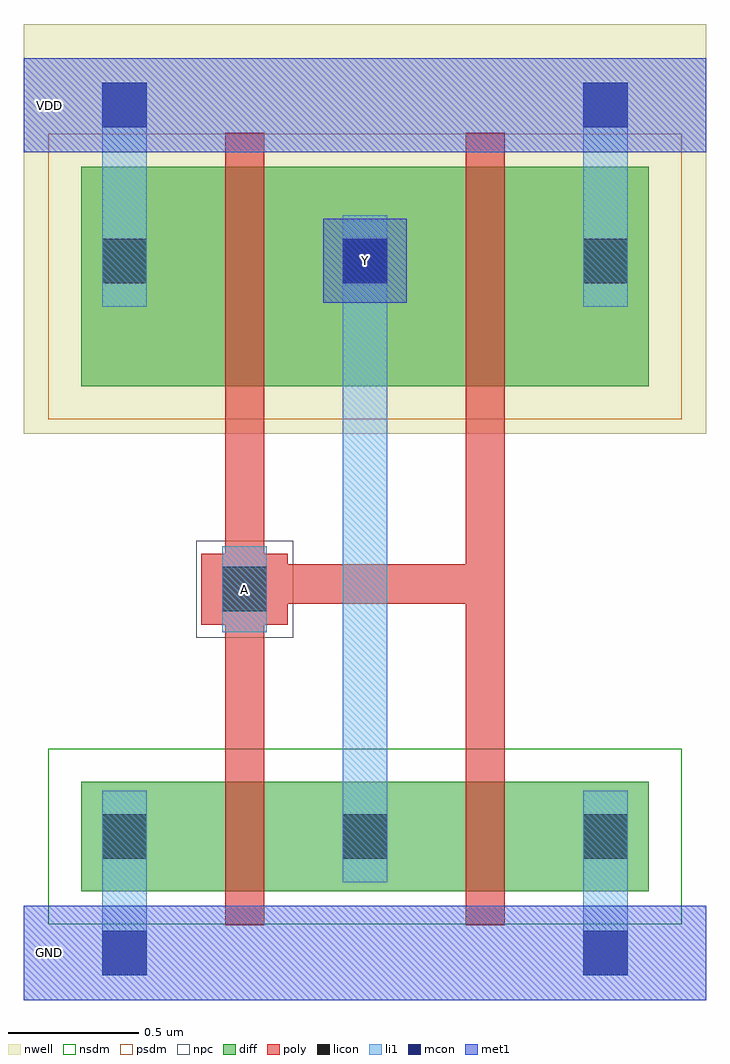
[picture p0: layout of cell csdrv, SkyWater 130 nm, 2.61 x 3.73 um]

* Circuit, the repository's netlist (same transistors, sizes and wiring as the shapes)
* NGSPICE file created from csdrv.ext - technology: sky130A

.subckt csdrv A Y VDD GND
X0 GND A Y VSUBS sky130_fd_pr__nfet_01v8 ad=0.231 pd=1.94 as=0.1617 ps=1.19 w=0.42 l=0.15
X1 Y A GND VSUBS sky130_fd_pr__nfet_01v8 ad=0.1617 pd=1.19 as=0.231 ps=1.94 w=0.42 l=0.15
X2 VDD A Y w_0_397# sky130_fd_pr__pfet_01v8 ad=0.462 pd=2.78 as=0.3234 ps=1.61 w=0.84 l=0.15
X3 Y A VDD w_0_397# sky130_fd_pr__pfet_01v8 ad=0.3234 pd=1.61 as=0.462 ps=2.78 w=0.84 l=0.15
.ends

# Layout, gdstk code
import gdstk
lib = gdstk.Library(unit=1e-6, precision=1e-09)
def R(c, l, rs):  # rectangles x0, y0, x1, y1
    for r in rs: c.add(gdstk.rectangle(r[:2], r[2:], *l))
def A(c, l, x, y, w, h, nx, ny, dx, dy):  # array of equal rectangles
    R(c, l, [(x+i*dx, y+j*dy, x+i*dx+w, y+j*dy+h) for i in range(nx) for j in range(ny)])
nwell = (64, 20)
diff = (65, 20)
poly = (66, 20)
licon = (66, 44)
li1 = (67, 20)
mcon = (67, 44)
met1 = (68, 20)
nsdm = (93, 44)
psdm = (94, 20)
npc = (95, 20)

csdrv = lib.new_cell('csdrv')
R(csdrv, nwell, [(0,1.985,2.61,3.55)])
R(csdrv, diff, [(0.22,0.235,2.39,0.655), (0.22,2.165,2.39,3.005)])
R(csdrv, poly, [(0.77,0.105,0.92,1.255), (1.69,0.105,1.84,1.335), (0.68,1.255,1.01,1.335), (0.68,1.335,1.84,1.485), (0.68,1.485,1.01,1.525), (1.69,1.485,1.84,3.135), (0.77,1.525,0.92,3.135)])
A(csdrv, licon, 0.3, 0.36, 0.17, 0.17, 3, 2, 0.92, 2.2)
R(csdrv, licon, [(0.76,1.305,0.93,1.475)])
R(csdrv, li1, [(0.3,-0.085,0.47,0.62), (2.14,-0.085,2.31,0.62), (1.22,0.27,1.39,2.82), (0.76,1.225,0.93,1.555), (0.3,2.47,0.47,3.325), (2.14,2.47,2.31,3.325)])
R(csdrv, mcon, [(0.3,-0.085,0.47,0.085), (2.14,-0.085,2.31,0.085), (1.22,2.56,1.39,2.73), (0.3,3.155,0.47,3.325), (2.14,3.155,2.31,3.325)])
R(csdrv, met1, [(0,-0.18,2.61,0.18), (1.145,2.485,1.465,2.805), (0,3.06,2.61,3.42)])
R(csdrv, nsdm, [(0.095,0.11,2.515,0.78)])
R(csdrv, psdm, [(0.095,2.04,2.515,3.13)])
R(csdrv, npc, [(0.66,1.205,1.03,1.575)])
csdrv.add(gdstk.Label('A', (0.845,1.39), layer=67, texttype=5))
csdrv.add(gdstk.Label('Y', (1.305,2.645), layer=68, texttype=5))
csdrv.add(gdstk.Label('VDD', (0.1,3.24), layer=68, texttype=5))
csdrv.add(gdstk.Label('GND', (0.1,0), layer=68, texttype=5))

lib.write_gds('csdrv.gds')
